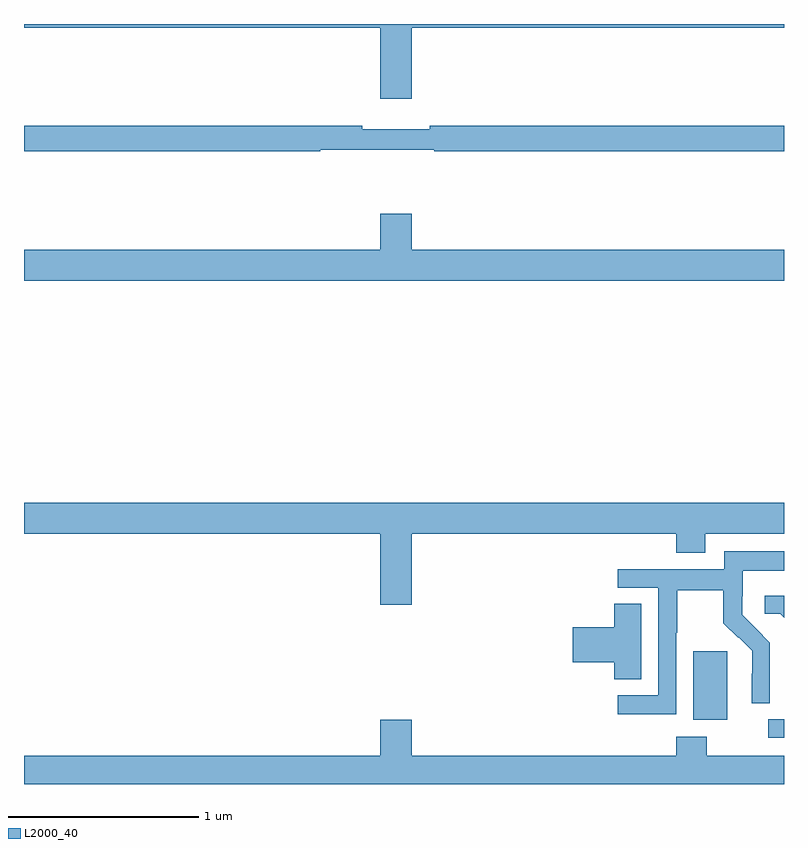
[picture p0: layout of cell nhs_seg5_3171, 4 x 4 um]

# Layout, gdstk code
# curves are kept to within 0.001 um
import gdstk
lib = gdstk.Library(unit=1e-6, precision=1e-09)
def R(c, l, rs):  # rectangles x0, y0, x1, y1
    for r in rs: c.add(gdstk.rectangle(r[:2], r[2:], *l))
def P(c, l, *ps):  # polygons
    for p in ps: c.add(gdstk.Polygon(p, *l))
L2000_40 = (2000, 40)

nhs_seg5_3171 = lib.new_cell('nhs_seg5_3171')
R(nhs_seg5_3171, L2000_40, [(298.917,833.043,299,833.139), (298.523,833.138,298.702,833.499)])
P(nhs_seg5_3171, L2000_40, [(297.04,836.78),(299,836.78),(299,836.799),(295,836.799),(295,836.78),(296.876,836.78),(296.876,836.406),(297.04,836.406)],
  [(296.558,836.136),(297.158,836.136),(297.158,836.128),(299,836.128),(299,836.264),(297.136,836.264),(297.136,836.245),(296.78,836.245),(296.78,836.264),(295,836.264),(295,836.128),(296.558,836.128)],
  [(299,835.612),(297.04,835.612),(297.04,835.801),(296.876,835.801),(296.876,835.612),(295,835.612),(295,835.448),(299,835.448)],
  [(297.04,834.116),(298.433,834.116),(298.433,834.017),(298.585,834.017),(298.585,834.116),(299,834.116),(299,834.28),(295,834.28),(295,834.116),(296.876,834.116),(296.876,833.742),(297.04,833.742)],
  [(298.434,833.596),(298.437,833.596),(298.437,833.82),(298.681,833.82),(298.681,833.645),(298.758,833.568),(298.761,833.571),(298.832,833.501),(298.832,833.378),(298.83,833.378),(298.83,833.224),(298.926,833.224),(298.926,833.542),(298.78,833.69),(298.78,833.787),(298.782,833.787),(298.782,833.921),(299,833.921),(299,834.025),(298.686,834.025),(298.686,833.928),(298.125,833.928),(298.125,833.832),(298.338,833.832),(298.338,833.265),(298.125,833.265),(298.125,833.167),(298.434,833.167)],
  [(299,833.791),(298.899,833.791),(298.899,833.694),(298.98,833.694),(299,833.674)],
  [(298.249,833.747),(298.106,833.747),(298.106,833.624),(297.888,833.624),(297.888,833.441),(298.106,833.441),(298.106,833.35),(298.249,833.35)],
  [(299,832.948),(298.593,832.948),(298.593,833.047),(298.433,833.047),(298.433,832.948),(297.04,832.948),(297.04,833.137),(296.876,833.137),(296.876,832.948),(295,832.948),(295,832.799),(299,832.799)])

lib.write_gds('nhs_seg5_3171.gds')
